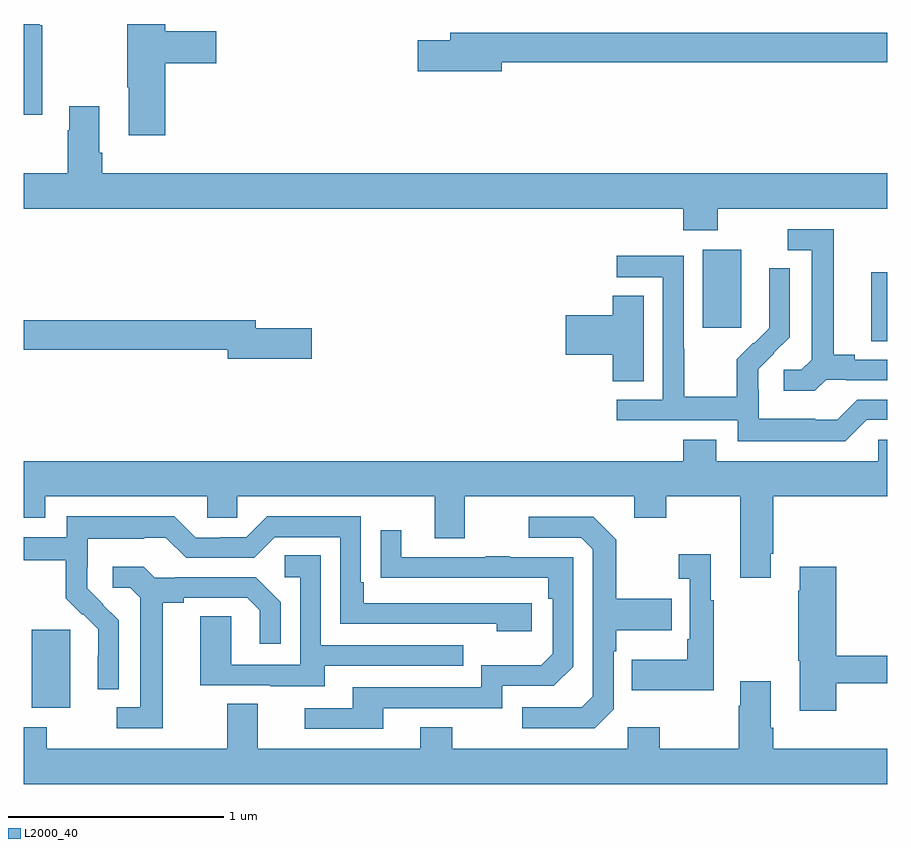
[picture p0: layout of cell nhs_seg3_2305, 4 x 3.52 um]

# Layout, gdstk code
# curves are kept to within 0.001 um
import gdstk
lib = gdstk.Library(unit=1e-6, precision=1e-09)
def R(c, l, rs):  # rectangles x0, y0, x1, y1
    for r in rs: c.add(gdstk.rectangle(r[:2], r[2:], *l))
def P(c, l, *ps):  # polygons
    for p in ps: c.add(gdstk.Polygon(p, *l))
L2000_40 = (2000, 40)

nhs_seg3_2305 = lib.new_cell('nhs_seg3_2305')
R(nhs_seg3_2305, L2000_40, [(229.037,737.234,229.216,737.595), (232.925,738.931,233,739.251), (232.145,738.993,232.324,739.354)])
P(nhs_seg3_2305, L2000_40, [(229.087,740.395),(229.075,740.395),(229.075,740.4),(229,740.4),(229,739.979),(229.087,739.979)],
  [(229.655,740.219),(229.891,740.219),(229.891,740.366),(229.655,740.366),(229.655,740.4),(229.48,740.4),(229.48,740.107),(229.487,740.107),(229.487,739.884),(229.655,739.884)],
  [(231.214,740.224),(233,740.224),(233,740.36),(230.975,740.36),(230.975,740.324),(230.826,740.324),(230.826,740.182),(231.214,740.182)],
  [(232.215,739.544),(233,739.544),(233,739.708),(229.364,739.708),(229.364,739.804),(229.351,739.804),(229.351,740.02),(229.211,740.02),(229.211,739.907),(229.204,739.907),(229.204,739.708),(229,739.708),(229,739.544),(232.055,739.544),(232.055,739.445),(232.215,739.445)],
  [(232.716,738.753),(232.81,738.753),(232.81,738.75),(233,738.75),(233,738.846),(232.849,738.846),(232.849,738.869),(232.753,738.869),(232.753,739.449),(232.539,739.449),(232.539,739.353),(232.649,739.353),(232.649,738.845),(232.602,738.798),(232.521,738.798),(232.521,738.701),(232.664,738.701)],
  [(232.905,738.567),(233,738.567),(233,738.66),(232.86,738.66),(232.767,738.567),(232.667,738.567),(232.667,738.571),(232.404,738.571),(232.404,738.705),(232.402,738.705),(232.402,738.802),(232.548,738.95),(232.548,739.268),(232.452,739.268),(232.452,739.114),(232.454,739.114),(232.454,738.992),(232.383,738.921),(232.38,738.924),(232.303,738.847),(232.303,738.673),(232.059,738.673),(232.059,738.896),(232.056,738.896),(232.056,739.326),(231.747,739.326),(231.747,739.227),(231.96,739.227),(231.96,738.66),(231.747,738.66),(231.747,738.564),(232.308,738.564),(232.308,738.467),(232.805,738.467)],
  [(231.871,739.142),(231.728,739.142),(231.728,739.052),(231.51,739.052),(231.51,738.869),(231.728,738.869),(231.728,738.745),(231.871,738.745)],
  [(230.335,738.992),(230.074,738.992),(230.074,739.028),(229,739.028),(229,738.892),(229.946,738.892),(229.946,738.85),(230.335,738.85)],
  [(232.459,737.947),(232.472,737.947),(232.472,738.212),(233,738.212),(233,738.474),(232.959,738.474),(232.959,738.376),(232.207,738.376),(232.207,738.475),(232.055,738.475),(232.055,738.376),(229,738.376),(229,738.113),(229.099,738.113),(229.099,738.212),(229.851,738.212),(229.851,738.114),(229.989,738.114),(229.989,738.212),(230.903,738.212),(230.903,738.018),(231.043,738.018),(231.043,738.212),(231.827,738.212),(231.827,738.113),(231.975,738.113),(231.975,738.212),(232.319,738.212),(232.319,737.835),(232.459,737.835)],
  [(229.44,737.638),(229.294,737.786),(229.294,737.883),(229.296,737.883),(229.296,738.017),(229.559,738.017),(229.559,738.021),(229.659,738.021),(229.752,737.928),(230.067,737.928),(230.163,738.024),(230.466,738.024),(230.466,737.622),(231.191,737.622),(231.191,737.588),(231.352,737.588),(231.352,737.718),(230.575,737.718),(230.575,737.815),(230.562,737.815),(230.562,738.12),(230.127,738.12),(230.031,738.024),(229.913,738.024),(229.913,738.021),(229.797,738.021),(229.697,738.121),(229.2,738.121),(229.2,738.024),(229,738.024),(229,737.916),(229.195,737.916),(229.195,737.741),(229.272,737.664),(229.275,737.667),(229.346,737.597),(229.346,737.474),(229.344,737.474),(229.344,737.32),(229.44,737.32)],
  [(231.732,737.226),(231.732,737.495),(231.745,737.495),(231.745,737.591),(232.001,737.591),(232.001,737.739),(231.745,737.739),(231.745,738.011),(231.639,738.117),(231.339,738.117),(231.339,738.021),(231.582,738.021),(231.636,737.967),(231.636,737.286),(231.585,737.235),(231.309,737.235),(231.309,737.139),(231.645,737.139)],
  [(230.665,737.232),(231.216,737.232),(231.216,737.334),(231.456,737.334),(231.546,737.424),(231.546,737.931),(231.251,737.931),(231.251,737.936),(231.139,737.936),(231.139,737.931),(230.749,737.931),(230.749,738.055),(230.653,738.055),(230.653,737.836),(231.43,737.835),(231.43,737.738),(231.45,737.738),(231.45,737.484),(231.397,737.431),(231.12,737.431),(231.12,737.328),(230.525,737.328),(230.525,737.232),(230.301,737.232),(230.301,737.136),(230.665,737.136)],
  [(232.195,737.731),(232.183,737.731),(232.183,737.944),(232.035,737.944),(232.035,737.831),(232.086,737.831),(232.086,737.551),(232.074,737.551),(232.074,737.455),(231.817,737.455),(231.817,737.315),(232.195,737.315)],
  [(230.395,737.427),(231.035,737.427),(231.035,737.523),(230.376,737.523),(230.376,737.939),(230.208,737.939),(230.208,737.838),(230.28,737.838),(230.28,737.433),(229.962,737.433),(229.962,737.657),(229.817,737.657),(229.817,737.337),(230.141,737.337),(230.141,737.333),(230.395,737.333)],
  [(229.645,737.72),(229.741,737.72),(229.741,737.742),(230.036,737.742),(230.093,737.685),(230.093,737.529),(230.19,737.529),(230.19,737.722),(230.074,737.838),(229.702,737.838),(229.702,737.835),(229.608,737.835),(229.556,737.887),(229.413,737.887),(229.413,737.79),(229.494,737.79),(229.541,737.743),(229.541,737.235),(229.431,737.235),(229.431,737.139),(229.645,737.139)],
  [(232.763,737.346),(233,737.346),(233,737.474),(232.763,737.474),(232.763,737.887),(232.595,737.887),(232.595,737.774),(232.588,737.774),(232.588,737.451),(232.595,737.451),(232.595,737.22),(232.763,737.22)],
  [(233,737.044),(232.472,737.044),(232.472,737.14),(232.459,737.14),(232.459,737.356),(232.319,737.356),(232.319,737.243),(232.312,737.243),(232.312,737.044),(231.945,737.044),(231.945,737.143),(231.798,737.143),(231.798,737.044),(230.985,737.044),(230.985,737.143),(230.837,737.143),(230.837,737.044),(230.083,737.044),(230.083,737.252),(229.943,737.252),(229.943,737.044),(229.107,737.044),(229.107,737.143),(229,737.143),(229,736.88),(233,736.88)])

lib.write_gds('nhs_seg3_2305.gds')
